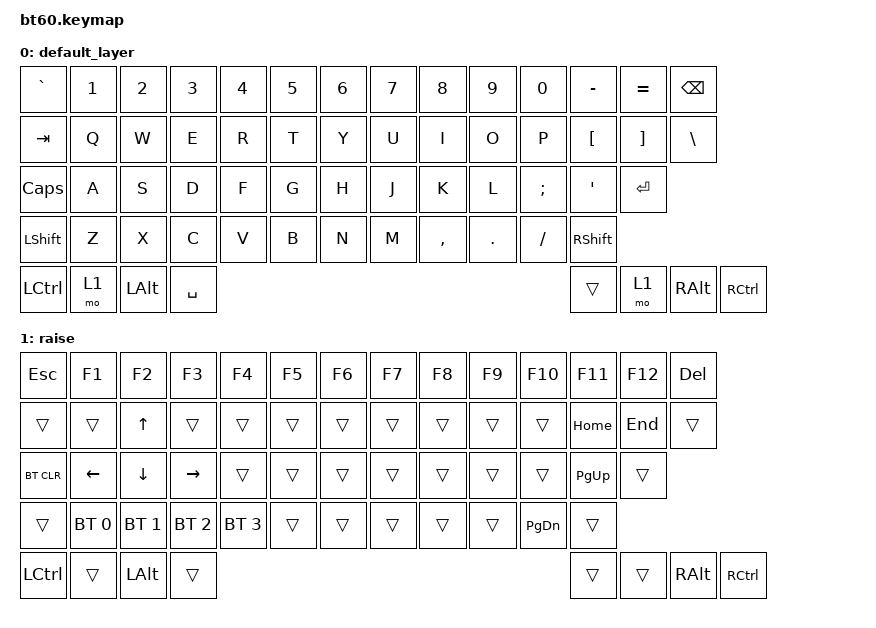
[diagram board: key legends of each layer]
#include <behaviors.dtsi>
#include <dt-bindings/zmk/keys.h>
#include <dt-bindings/zmk/bt.h>
#include <dt-bindings/zmk/rgb.h>
#include <dt-bindings/zmk/backlight.h>

/ {
   keymap {
      compatible = "zmk,keymap";
      default_layer {
            // ------------------------------------------------------------------------------------------
            // |  `  |  1  |  2  |  3  |  4  |  5  |  6  |  7  |  8  |  9  |  0  |  -  |  =  |  BKSP |
            // | TAB  |  Q  |  W  |  E  |  R  |  T  |  Y  |  U  |  I  |  O  |  P  |  [  |  ]  |   |  |
            // | CAPS  |  A  |  S  |  D  |  F  |  G  |  H  |  J  |  K  |  L  |  ;  |  '  |     ENTER |
            // |  SHIFT    |  Z  |  X  |  C  |  V  |  B  |  N  |  M  |  ,  |  .  | /   |      SHIFT  |
            // |  CRTL  |  Fn1  |  ALT  |              SPACE              |  Fn1  |  ALT  |  CTRL |
            // ------------------------------------------------------------------------------------------
            // some change
         bindings = <
            &kp GRAVE &kp N1 &kp N2 &kp N3 &kp N4 &kp N5 &kp N6 &kp N7 &kp N8    &kp N9  &kp N0   &kp MINUS &kp EQUAL &kp BSPC
            &kp TAB   &kp Q  &kp W  &kp E  &kp R  &kp T  &kp Y  &kp U  &kp I     &kp O   &kp P    &kp LBKT  &kp RBKT  &kp BSLH
            &kp CAPS  &kp A  &kp S  &kp D  &kp F  &kp G  &kp H  &kp J  &kp K     &kp L   &kp SEMI &kp SQT   &kp RET
            &kp LSHFT &kp Z  &kp X  &kp C  &kp V  &kp B  &kp N  &kp M  &kp COMMA &kp DOT &kp FSLH &kp RSHFT
            &kp LCTRL &mo 1  &kp LALT                    &kp SPACE                          &trans      &mo 1  &kp RALT     &kp RCTRL
         >; 
      };
      
      raise {
         bindings = <
            &kp ESC &kp F1 &kp F2 &kp F3 &kp F4 &kp F5 &kp F6 &kp F7 &kp F8 &kp F9 &kp F10 &kp F11 &kp F12 &kp DEL
            &trans &trans  &kp UP  &trans  &trans  &trans  &trans  &trans  &trans  &trans  &trans  &kp HOME  &kp END  &trans
            &bt BT_CLR  &kp LEFT  &kp DOWN  &kp RIGHT  &trans  &trans  &trans  &trans  &trans  &trans  &trans  &kp PG_UP  &trans
            &trans  &bt BT_SEL 0  &bt BT_SEL 1 &bt BT_SEL 2 &bt BT_SEL 3  &trans &trans  &trans  &trans  &trans  &kp PG_DN  &trans
            &kp LCTRL  &trans  &kp LALT  &trans  &trans &trans &kp RALT  &kp RCTRL
         >;
         };
         
      };
   };
